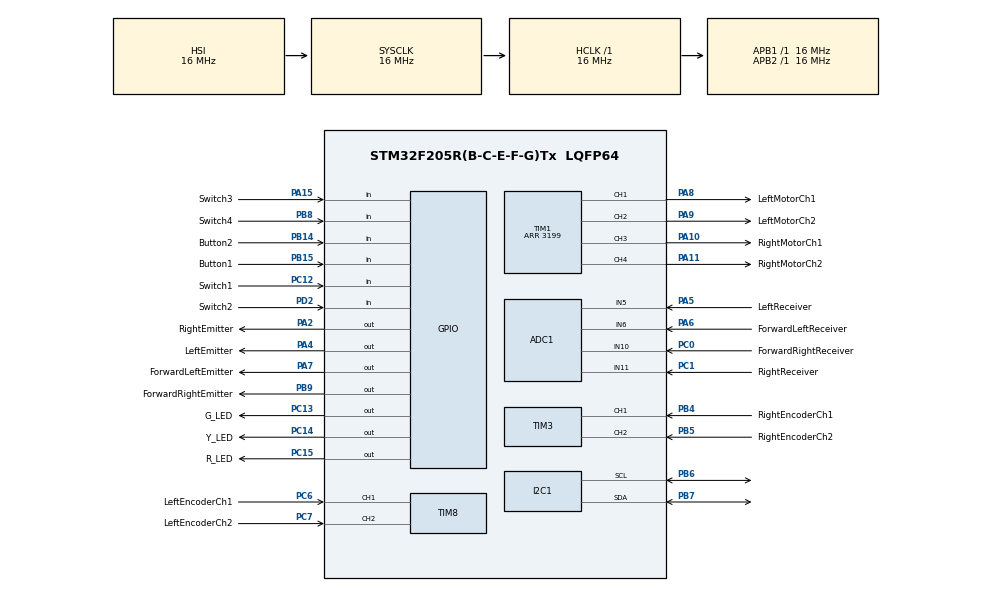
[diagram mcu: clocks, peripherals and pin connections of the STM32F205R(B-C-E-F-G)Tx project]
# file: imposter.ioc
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ADC1.Channel-0\#ChannelRegularConversion=ADC_CHANNEL_5
ADC1.ContinuousConvMode=ENABLE
ADC1.DMAContinuousRequests=ENABLE
ADC1.NbrOfConversionFlag=1
ADC1.Rank-0\#ChannelRegularConversion=1
ADC1.SamplingTime-0\#ChannelRegularConversion=ADC_SAMPLETIME_3CYCLES
ADC1.master=1
Dma.ADC1.0.Direction=DMA_PERIPH_TO_MEMORY
Dma.ADC1.0.FIFOMode=DMA_FIFOMODE_DISABLE
Dma.ADC1.0.Instance=DMA2_Stream0
Dma.ADC1.0.MemDataAlignment=DMA_MDATAALIGN_HALFWORD
Dma.ADC1.0.MemInc=DMA_MINC_ENABLE
Dma.ADC1.0.Mode=DMA_CIRCULAR
Dma.ADC1.0.PeriphDataAlignment=DMA_PDATAALIGN_HALFWORD
Dma.ADC1.0.PeriphInc=DMA_PINC_DISABLE
Dma.ADC1.0.Priority=DMA_PRIORITY_LOW
Dma.Request0=ADC1
I2C1.I2C_Mode=I2C_Fast
Mcu.Family=STM32F2
Mcu.Name=STM32F205R(B-C-E-F-G)Tx
Mcu.Package=LQFP64
NVIC.DMA2_Stream0_IRQn=true\:0\:0\:false\:false\:true\:false\:true\:true
NVIC.PriorityGroup=NVIC_PRIORITYGROUP_4
NVIC.TIM1_UP_TIM10_IRQn=true\:0\:0\:false\:false\:true\:true\:true\:true
PA10.GPIO_Label=RightMotorCh1
PA10.Signal=S_TIM1_CH3
PA11.GPIO_Label=RightMotorCh2
PA11.Signal=S_TIM1_CH4
PA15.GPIO_Label=Switch3
PA15.Signal=GPIO_Input
PA2.GPIO_Label=RightEmitter
PA2.Signal=GPIO_Output
PA4.GPIO_Label=LeftEmitter
PA4.Signal=GPIO_Output
PA5.GPIO_Label=LeftReceiver
PA5.Signal=ADCx_IN5
PA6.GPIO_Label=ForwardLeftReceiver
PA6.Signal=ADCx_IN6
PA7.GPIO_Label=ForwardLeftEmitter
PA7.Signal=GPIO_Output
PA8.GPIO_Label=LeftMotorCh1
PA8.Signal=S_TIM1_CH1
PA9.GPIO_Label=LeftMotorCh2
PA9.Signal=S_TIM1_CH2
PB14.GPIO_Label=Button2
PB14.Signal=GPIO_Input
PB15.GPIO_Label=Button1
PB15.Signal=GPIO_Input
PB4.GPIO_Label=RightEncoderCh1
PB4.Signal=S_TIM3_CH1
PB5.GPIO_Label=RightEncoderCh2
PB5.Signal=S_TIM3_CH2
PB6.Mode=I2C
PB6.Signal=I2C1_SCL
PB7.Mode=I2C
PB7.Signal=I2C1_SDA
PB8.GPIO_Label=Switch4
PB8.Signal=GPIO_Input
PB9.GPIO_Label=ForwardRightEmitter
PB9.Signal=GPIO_Output
PC0.GPIO_Label=ForwardRightReceiver
PC0.Signal=ADCx_IN10
PC1.GPIO_Label=RightReceiver
PC1.Signal=ADCx_IN11
PC12.GPIO_Label=Switch1
PC12.Signal=GPIO_Input
PC13.GPIO_Label=G_LED
PC13.Signal=GPIO_Output
PC14-OSC32_IN.GPIO_Label=Y_LED
PC14-OSC32_IN.Signal=GPIO_Output
PC15-OSC32_OUT.GPIO_Label=R_LED
PC15-OSC32_OUT.Signal=GPIO_Output
PC6.GPIO_Label=LeftEncoderCh1
PC6.Signal=S_TIM8_CH1
PC7.GPIO_Label=LeftEncoderCh2
PC7.Signal=S_TIM8_CH2
PD2.GPIO_Label=Switch2
PD2.Signal=GPIO_Input
ProjectManager.HeapSize=0x200
ProjectManager.StackSize=0x400
ProjectManager.TargetToolchain=STM32CubeIDE
RCC.48MHZClocksFreq_Value=48000000
RCC.AHBFreq_Value=16000000
RCC.APB1Freq_Value=16000000
RCC.APB2Freq_Value=16000000
RCC.CortexFreq_Value=16000000
RCC.HSE_VALUE=25000000
RCC.HSI_VALUE=16000000
RCC.LSE_VALUE=32768
RCC.SYSCLKFreq_VALUE=16000000
RCC.VCOOutputFreq_Value=192000000
SH.ADCx_IN10.0=ADC1_IN10,IN10
SH.ADCx_IN11.0=ADC1_IN11,IN11
SH.ADCx_IN5.0=ADC1_IN5,IN5
SH.ADCx_IN6.0=ADC1_IN6,IN6
SH.S_TIM1_CH1.0=TIM1_CH1,PWM Generation1 CH1
SH.S_TIM1_CH2.0=TIM1_CH2,PWM Generation2 CH2
SH.S_TIM1_CH3.0=TIM1_CH3,PWM Generation3 CH3
SH.S_TIM1_CH4.0=TIM1_CH4,PWM Generation4 CH4
SH.S_TIM3_CH1.0=TIM3_CH1,Encoder_Interface
SH.S_TIM3_CH2.0=TIM3_CH2,Encoder_Interface
SH.S_TIM8_CH1.0=TIM8_CH1,Encoder_Interface
SH.S_TIM8_CH2.0=TIM8_CH2,Encoder_Interface
TIM1.Channel-PWM\ Generation1\ CH1=TIM_CHANNEL_1
TIM1.Channel-PWM\ Generation2\ CH2=TIM_CHANNEL_2
TIM1.Channel-PWM\ Generation3\ CH3=TIM_CHANNEL_3
TIM1.Channel-PWM\ Generation4\ CH4=TIM_CHANNEL_4
TIM1.Period=3199
TIM3.EncoderMode=TIM_ENCODERMODE_TI12
TIM8.EncoderMode=TIM_ENCODERMODE_TI12
board=custom

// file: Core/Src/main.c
/* USER CODE BEGIN Header */
/**
  ******************************************************************************
  * @file           : main.c
  * @brief          : Main program body
  ******************************************************************************
  * @attention
  *
  * Copyright (c) 2024 STMicroelectronics.
  * All rights reserved.
  *
  * This software is licensed under terms that can be found in the LICENSE file
  * in the root directory of this software component.
  * If no LICENSE file comes with this software, it is provided AS-IS.
  *
  ******************************************************************************
  */
/* USER CODE END Header */
#include "main.h"

/* USER CODE BEGIN Includes */
#include "irs.h"
#include "delay.h"
#include "encoders.h"
#include "motors.h"
#include "pid2.h"
#include "controller.h"
#include "solver.h"
#include "gyro.h"
#include "anim.h"
#include "ssd1306.h"
#include "fonts.h"
/* USER CODE END Includes */

ADC_HandleTypeDef hadc1;
DMA_HandleTypeDef hdma_adc1;

I2C_HandleTypeDef hi2c1;

TIM_HandleTypeDef htim1;
TIM_HandleTypeDef htim3;
TIM_HandleTypeDef htim8;

/* USER CODE BEGIN PV */
GPIO_PinState S1, S2, S3, S4, B1, B2;

int16_t start_pressed = 0;

int16_t left_counts = 0;
int16_t right_counts = 0;

int16_t forwardLeftIRvalue = 0;
int16_t leftIRvalue = 0;
int16_t rightIRvalue = 0;
int16_t forwardRightIRvalue = 0;

int16_t irOffset_Set = 0;

int16_t walls_set = 0;

int16_t goal_forward_left = 0;
int16_t goal_forward_right = 0;
int16_t goal_left = 0;
int16_t goal_right = 0;

int max_forward = 0;
float Gz;

/* USER CODE END PV */

void SystemClock_Config(void);
static void MX_GPIO_Init(void);
static void MX_DMA_Init(void);
static void MX_ADC1_Init(void);
static void MX_TIM3_Init(void);
static void MX_TIM8_Init(void);
static void MX_TIM1_Init(void);
static void MX_I2C1_Init(void);

/* USER CODE BEGIN 0 */
void solve(Algorithm alg) {
	Action nextMove = solver(alg);
	switch(nextMove) {
		case FORWARD:
			move(0);
//			move(1);
			if (alg == FLOODFILL)
			{
				int extra_moves = foresight(); // Already has curr position and heading
				if (extra_moves > max_forward) {
					extra_moves = max_forward;
				}
				for (int i = 0; i < extra_moves; i++)
				{
					solver(FLOODFILL);
				}
				move(1 + extra_moves);
			}
			else
				move(1);
			break;
		case LEFT:
			displayFace(goodright);
			move(0);
			turn(-1);
			break;
		case RIGHT:
			displayFace(goodleft);
			move(0);
			turn(1);
			break;
		case IDLE:
			break;
	}
	if (readIR(IR_FORWARD_LEFT) > 1200 && readIR(IR_FORWARD_RIGHT) > 1200) {
		frontCorrection();
	}
}
/* USER CODE END 0 */

int main(void)
{

  /* MCU Configuration--------------------------------------------------------*/

  /* Reset of all peripherals, Initializes the Flash interface and the Systick. */
  HAL_Init();

  /* USER CODE BEGIN Init */
  Delay_Init();

  /* USER CODE END Init */

  /* Configure the system clock */
  SystemClock_Config();

  /* Initialize all configured peripherals */
  MX_GPIO_Init();
  MX_DMA_Init();
  MX_ADC1_Init();
  MX_TIM3_Init();
  MX_TIM8_Init();
  MX_TIM1_Init();
  MX_I2C1_Init();
  /* USER CODE BEGIN 2 */
  HAL_TIM_Encoder_Start(&htim3, TIM_CHANNEL_ALL);
  HAL_TIM_Encoder_Start(&htim8, TIM_CHANNEL_ALL);

  HAL_TIM_PWM_Start(&htim1, TIM_CHANNEL_1);
  HAL_TIM_PWM_Start(&htim1, TIM_CHANNEL_2);
  HAL_TIM_PWM_Start(&htim1, TIM_CHANNEL_3);
  HAL_TIM_PWM_Start(&htim1, TIM_CHANNEL_4);

  HAL_GPIO_WritePin(ForwardLeftEmitter_GPIO_Port, ForwardLeftEmitter_Pin, GPIO_PIN_SET);
  HAL_GPIO_WritePin(LeftEmitter_GPIO_Port, LeftEmitter_Pin, GPIO_PIN_SET);
  HAL_GPIO_WritePin(RightEmitter_GPIO_Port, RightEmitter_Pin, GPIO_PIN_SET);
  HAL_GPIO_WritePin(ForwardRightEmitter_GPIO_Port, ForwardRightEmitter_Pin, GPIO_PIN_SET);

  SSD1306_Init();
  /* USER CODE END 2 */

  /* Infinite loop */
  while (1)
  {

    /* USER CODE BEGIN 3 */
	  S1 = HAL_GPIO_ReadPin(Button1_GPIO_Port, Switch1_Pin);
	  S2 = HAL_GPIO_ReadPin(Switch2_GPIO_Port, Switch2_Pin);
	  S3 = HAL_GPIO_ReadPin(Switch3_GPIO_Port, Switch3_Pin);
	  S4 = HAL_GPIO_ReadPin(Switch4_GPIO_Port, Switch4_Pin);
	  B1 = HAL_GPIO_ReadPin(Button1_GPIO_Port, Button1_Pin);
	  B2 = HAL_GPIO_ReadPin(Button2_GPIO_Port, Button2_Pin);
//
//	  HAL_GPIO_WritePin(R_LED_GPIO_Port, R_LED_Pin, GPIO_PIN_SET);
//	  HAL_GPIO_WritePin(Y_LED_GPIO_Port, Y_LED_Pin, GPIO_PIN_SET);
//	  HAL_GPIO_WritePin(G_LED_GPIO_Port, G_LED_Pin, GPIO_PIN_SET);

	  forwardLeftIRvalue = readIR(IR_FORWARD_LEFT);
	  leftIRvalue = readIR(IR_LEFT);
	  rightIRvalue = readIR(IR_RIGHT);
	  forwardRightIRvalue = readIR(IR_FORWARD_RIGHT);

	  if (B1 == GPIO_PIN_SET)
	  {
		  if (irOffset_Set == 0) {
			  setIRGoals(readIR(IR_FORWARD_LEFT), readIR(IR_FORWARD_RIGHT), readIR(IR_LEFT), readIR(IR_RIGHT));
			  irOffset_Set = 1;
			  gyroInit();
			  displayFace(smiley);
		  }
		  else {
			  displayFace(angery);
			  max_forward++;
		  }

		  resetPID();
	  }

	  if (B2 == GPIO_PIN_SET)
	  {
		  initPID();
//		  frontCorrection();
		  start_pressed = 1;
//		  turn(1);
//		  move(0);
//		  move(1);
//		  move(1);
//		  move(1);
//		  turn(1);
//		  turn(1);
//		  move(1);
//		  move(1);
//		  move(1);
//		  turn(1);
//		  turn(1);
	  }

	  if (start_pressed)
	  {
		  resetPID();
		  move(0);

		  if (S4 == GPIO_PIN_SET)
			  solve(FLOODFILL);
		  else
			  solve(DEAD);
	  }
  }
  /* USER CODE END 3 */
}

void SystemClock_Config(void)
{
  RCC_OscInitTypeDef RCC_OscInitStruct = {0};
  RCC_ClkInitTypeDef RCC_ClkInitStruct = {0};

  /** Initializes the RCC Oscillators according to the specified parameters
  * in the RCC_OscInitTypeDef structure.
  */
  RCC_OscInitStruct.OscillatorType = RCC_OSCILLATORTYPE_HSI;
  RCC_OscInitStruct.HSIState = RCC_HSI_ON;
  RCC_OscInitStruct.HSICalibrationValue = RCC_HSICALIBRATION_DEFAULT;
  RCC_OscInitStruct.PLL.PLLState = RCC_PLL_NONE;
  if (HAL_RCC_OscConfig(&RCC_OscInitStruct) != HAL_OK)
  {
    Error_Handler();
  }

  /** Initializes the CPU, AHB and APB buses clocks
  */
  RCC_ClkInitStruct.ClockType = RCC_CLOCKTYPE_HCLK|RCC_CLOCKTYPE_SYSCLK
                              |RCC_CLOCKTYPE_PCLK1|RCC_CLOCKTYPE_PCLK2;
  RCC_ClkInitStruct.SYSCLKSource = RCC_SYSCLKSOURCE_HSI;
  RCC_ClkInitStruct.AHBCLKDivider = RCC_SYSCLK_DIV1;
  RCC_ClkInitStruct.APB1CLKDivider = RCC_HCLK_DIV1;
  RCC_ClkInitStruct.APB2CLKDivider = RCC_HCLK_DIV1;

  if (HAL_RCC_ClockConfig(&RCC_ClkInitStruct, FLASH_LATENCY_0) != HAL_OK)
  {
    Error_Handler();
  }
}

static void MX_ADC1_Init(void)
{

  ADC_ChannelConfTypeDef sConfig = {0};

  /** Configure the global features of the ADC (Clock, Resolution, Data Alignment and number of conversion)
  */
  hadc1.Instance = ADC1;
  hadc1.Init.ClockPrescaler = ADC_CLOCK_SYNC_PCLK_DIV2;
  hadc1.Init.Resolution = ADC_RESOLUTION_12B;
  hadc1.Init.ScanConvMode = DISABLE;
  hadc1.Init.ContinuousConvMode = ENABLE;
  hadc1.Init.DiscontinuousConvMode = DISABLE;
  hadc1.Init.ExternalTrigConvEdge = ADC_EXTERNALTRIGCONVEDGE_NONE;
  hadc1.Init.ExternalTrigConv = ADC_SOFTWARE_START;
  hadc1.Init.DataAlign = ADC_DATAALIGN_RIGHT;
  hadc1.Init.NbrOfConversion = 1;
  hadc1.Init.DMAContinuousRequests = ENABLE;
  hadc1.Init.EOCSelection = ADC_EOC_SINGLE_CONV;
  if (HAL_ADC_Init(&hadc1) != HAL_OK)
  {
    Error_Handler();
  }

  /** Configure for the selected ADC regular channel its corresponding rank in the sequencer and its sample time.
  */
  sConfig.Channel = ADC_CHANNEL_5;
  sConfig.Rank = 1;
  sConfig.SamplingTime = ADC_SAMPLETIME_3CYCLES;
  if (HAL_ADC_ConfigChannel(&hadc1, &sConfig) != HAL_OK)
  {
    Error_Handler();
  }

}

static void MX_I2C1_Init(void)
{

  hi2c1.Instance = I2C1;
  hi2c1.Init.ClockSpeed = 400000;
  hi2c1.Init.DutyCycle = I2C_DUTYCYCLE_2;
  hi2c1.Init.OwnAddress1 = 0;
  hi2c1.Init.AddressingMode = I2C_ADDRESSINGMODE_7BIT;
  hi2c1.Init.DualAddressMode = I2C_DUALADDRESS_DISABLE;
  hi2c1.Init.OwnAddress2 = 0;
  hi2c1.Init.GeneralCallMode = I2C_GENERALCALL_DISABLE;
  hi2c1.Init.NoStretchMode = I2C_NOSTRETCH_DISABLE;
  if (HAL_I2C_Init(&hi2c1) != HAL_OK)
  {
    Error_Handler();
  }

}

static void MX_TIM1_Init(void)
{

  TIM_MasterConfigTypeDef sMasterConfig = {0};
  TIM_OC_InitTypeDef sConfigOC = {0};
  TIM_BreakDeadTimeConfigTypeDef sBreakDeadTimeConfig = {0};

  htim1.Instance = TIM1;
  htim1.Init.Prescaler = 0;
  htim1.Init.CounterMode = TIM_COUNTERMODE_UP;
  htim1.Init.Period = 3199;
  htim1.Init.ClockDivision = TIM_CLOCKDIVISION_DIV1;
  htim1.Init.RepetitionCounter = 0;
  htim1.Init.AutoReloadPreload = TIM_AUTORELOAD_PRELOAD_DISABLE;
  if (HAL_TIM_PWM_Init(&htim1) != HAL_OK)
  {
    Error_Handler();
  }
  sMasterConfig.MasterOutputTrigger = TIM_TRGO_RESET;
  sMasterConfig.MasterSlaveMode = TIM_MASTERSLAVEMODE_DISABLE;
  if (HAL_TIMEx_MasterConfigSynchronization(&htim1, &sMasterConfig) != HAL_OK)
  {
    Error_Handler();
  }
  sConfigOC.OCMode = TIM_OCMODE_PWM1;
  sConfigOC.Pulse = 0;
  sConfigOC.OCPolarity = TIM_OCPOLARITY_HIGH;
  sConfigOC.OCNPolarity = TIM_OCNPOLARITY_HIGH;
  sConfigOC.OCFastMode = TIM_OCFAST_DISABLE;
  sConfigOC.OCIdleState = TIM_OCIDLESTATE_RESET;
  sConfigOC.OCNIdleState = TIM_OCNIDLESTATE_RESET;
  if (HAL_TIM_PWM_ConfigChannel(&htim1, &sConfigOC, TIM_CHANNEL_1) != HAL_OK)
  {
    Error_Handler();
  }
  if (HAL_TIM_PWM_ConfigChannel(&htim1, &sConfigOC, TIM_CHANNEL_2) != HAL_OK)
  {
    Error_Handler();
  }
  if (HAL_TIM_PWM_ConfigChannel(&htim1, &sConfigOC, TIM_CHANNEL_3) != HAL_OK)
  {
    Error_Handler();
  }
  if (HAL_TIM_PWM_ConfigChannel(&htim1, &sConfigOC, TIM_CHANNEL_4) != HAL_OK)
  {
    Error_Handler();
  }
  sBreakDeadTimeConfig.OffStateRunMode = TIM_OSSR_DISABLE;
  sBreakDeadTimeConfig.OffStateIDLEMode = TIM_OSSI_DISABLE;
  sBreakDeadTimeConfig.LockLevel = TIM_LOCKLEVEL_OFF;
  sBreakDeadTimeConfig.DeadTime = 0;
  sBreakDeadTimeConfig.BreakState = TIM_BREAK_DISABLE;
  sBreakDeadTimeConfig.BreakPolarity = TIM_BREAKPOLARITY_HIGH;
  sBreakDeadTimeConfig.AutomaticOutput = TIM_AUTOMATICOUTPUT_DISABLE;
  if (HAL_TIMEx_ConfigBreakDeadTime(&htim1, &sBreakDeadTimeConfig) != HAL_OK)
  {
    Error_Handler();
  }
  HAL_TIM_MspPostInit(&htim1);

}

static void MX_TIM3_Init(void)
{

  TIM_Encoder_InitTypeDef sConfig = {0};
  TIM_MasterConfigTypeDef sMasterConfig = {0};

  htim3.Instance = TIM3;
  htim3.Init.Prescaler = 0;
  htim3.Init.CounterMode = TIM_COUNTERMODE_UP;
  htim3.Init.Period = 65535;
  htim3.Init.ClockDivision = TIM_CLOCKDIVISION_DIV1;
  htim3.Init.AutoReloadPreload = TIM_AUTORELOAD_PRELOAD_DISABLE;
  sConfig.EncoderMode = TIM_ENCODERMODE_TI12;
  sConfig.IC1Polarity = TIM_ICPOLARITY_RISING;
  sConfig.IC1Selection = TIM_ICSELECTION_DIRECTTI;
  sConfig.IC1Prescaler = TIM_ICPSC_DIV1;
  sConfig.IC1Filter = 0;
  sConfig.IC2Polarity = TIM_ICPOLARITY_RISING;
  sConfig.IC2Selection = TIM_ICSELECTION_DIRECTTI;
  sConfig.IC2Prescaler = TIM_ICPSC_DIV1;
  sConfig.IC2Filter = 0;
  if (HAL_TIM_Encoder_Init(&htim3, &sConfig) != HAL_OK)
  {
    Error_Handler();
  }
  sMasterConfig.MasterOutputTrigger = TIM_TRGO_RESET;
  sMasterConfig.MasterSlaveMode = TIM_MASTERSLAVEMODE_DISABLE;
  if (HAL_TIMEx_MasterConfigSynchronization(&htim3, &sMasterConfig) != HAL_OK)
  {
    Error_Handler();
  }

}

static void MX_TIM8_Init(void)
{

  TIM_Encoder_InitTypeDef sConfig = {0};
  TIM_MasterConfigTypeDef sMasterConfig = {0};

  htim8.Instance = TIM8;
  htim8.Init.Prescaler = 0;
  htim8.Init.CounterMode = TIM_COUNTERMODE_UP;
  htim8.Init.Period = 65535;
  htim8.Init.ClockDivision = TIM_CLOCKDIVISION_DIV1;
  htim8.Init.RepetitionCounter = 0;
  htim8.Init.AutoReloadPreload = TIM_AUTORELOAD_PRELOAD_DISABLE;
  sConfig.EncoderMode = TIM_ENCODERMODE_TI12;
  sConfig.IC1Polarity = TIM_ICPOLARITY_RISING;
  sConfig.IC1Selection = TIM_ICSELECTION_DIRECTTI;
  sConfig.IC1Prescaler = TIM_ICPSC_DIV1;
  sConfig.IC1Filter = 0;
  sConfig.IC2Polarity = TIM_ICPOLARITY_RISING;
  sConfig.IC2Selection = TIM_ICSELECTION_DIRECTTI;
  sConfig.IC2Prescaler = TIM_ICPSC_DIV1;
  sConfig.IC2Filter = 0;
  if (HAL_TIM_Encoder_Init(&htim8, &sConfig) != HAL_OK)
  {
    Error_Handler();
  }
  sMasterConfig.MasterOutputTrigger = TIM_TRGO_RESET;
  sMasterConfig.MasterSlaveMode = TIM_MASTERSLAVEMODE_DISABLE;
  if (HAL_TIMEx_MasterConfigSynchronization(&htim8, &sMasterConfig) != HAL_OK)
  {
    Error_Handler();
  }

}

static void MX_DMA_Init(void)
{

  /* DMA controller clock enable */
  __HAL_RCC_DMA2_CLK_ENABLE();

  /* DMA interrupt init */
  /* DMA2_Stream0_IRQn interrupt configuration */
  HAL_NVIC_SetPriority(DMA2_Stream0_IRQn, 0, 0);
  HAL_NVIC_EnableIRQ(DMA2_Stream0_IRQn);

}

static void MX_GPIO_Init(void)
{
  GPIO_InitTypeDef GPIO_InitStruct = {0};

  /* GPIO Ports Clock Enable */
  __HAL_RCC_GPIOC_CLK_ENABLE();
  __HAL_RCC_GPIOA_CLK_ENABLE();
  __HAL_RCC_GPIOB_CLK_ENABLE();
  __HAL_RCC_GPIOD_CLK_ENABLE();

  /*Configure GPIO pin Output Level */
  HAL_GPIO_WritePin(GPIOC, G_LED_Pin|Y_LED_Pin|R_LED_Pin, GPIO_PIN_RESET);

  /*Configure GPIO pin Output Level */
  HAL_GPIO_WritePin(GPIOA, RightEmitter_Pin|LeftEmitter_Pin|ForwardLeftEmitter_Pin, GPIO_PIN_RESET);

  /*Configure GPIO pin Output Level */
  HAL_GPIO_WritePin(ForwardRightEmitter_GPIO_Port, ForwardRightEmitter_Pin, GPIO_PIN_RESET);

  /*Configure GPIO pins : G_LED_Pin Y_LED_Pin R_LED_Pin */
  GPIO_InitStruct.Pin = G_LED_Pin|Y_LED_Pin|R_LED_Pin;
  GPIO_InitStruct.Mode = GPIO_MODE_OUTPUT_PP;
  GPIO_InitStruct.Pull = GPIO_NOPULL;
  GPIO_InitStruct.Speed = GPIO_SPEED_FREQ_LOW;
  HAL_GPIO_Init(GPIOC, &GPIO_InitStruct);

  /*Configure GPIO pins : RightEmitter_Pin LeftEmitter_Pin ForwardLeftEmitter_Pin */
  GPIO_InitStruct.Pin = RightEmitter_Pin|LeftEmitter_Pin|ForwardLeftEmitter_Pin;
  GPIO_InitStruct.Mode = GPIO_MODE_OUTPUT_PP;
  GPIO_InitStruct.Pull = GPIO_NOPULL;
  GPIO_InitStruct.Speed = GPIO_SPEED_FREQ_LOW;
  HAL_GPIO_Init(GPIOA, &GPIO_InitStruct);

  /*Configure GPIO pins : Button2_Pin Button1_Pin Switch4_Pin */
  GPIO_InitStruct.Pin = Button2_Pin|Button1_Pin|Switch4_Pin;
  GPIO_InitStruct.Mode = GPIO_MODE_INPUT;
  GPIO_InitStruct.Pull = GPIO_NOPULL;
  HAL_GPIO_Init(GPIOB, &GPIO_InitStruct);

  /*Configure GPIO pin : Switch3_Pin */
  GPIO_InitStruct.Pin = Switch3_Pin;
  GPIO_InitStruct.Mode = GPIO_MODE_INPUT;
  GPIO_InitStruct.Pull = GPIO_NOPULL;
  HAL_GPIO_Init(Switch3_GPIO_Port, &GPIO_InitStruct);

  /*Configure GPIO pin : Switch1_Pin */
  GPIO_InitStruct.Pin = Switch1_Pin;
  GPIO_InitStruct.Mode = GPIO_MODE_INPUT;
  GPIO_InitStruct.Pull = GPIO_NOPULL;
  HAL_GPIO_Init(Switch1_GPIO_Port, &GPIO_InitStruct);

  /*Configure GPIO pin : Switch2_Pin */
  GPIO_InitStruct.Pin = Switch2_Pin;
  GPIO_InitStruct.Mode = GPIO_MODE_INPUT;
  GPIO_InitStruct.Pull = GPIO_NOPULL;
  HAL_GPIO_Init(Switch2_GPIO_Port, &GPIO_InitStruct);

  /*Configure GPIO pin : ForwardRightEmitter_Pin */
  GPIO_InitStruct.Pin = ForwardRightEmitter_Pin;
  GPIO_InitStruct.Mode = GPIO_MODE_OUTPUT_PP;
  GPIO_InitStruct.Pull = GPIO_NOPULL;
  GPIO_InitStruct.Speed = GPIO_SPEED_FREQ_LOW;
  HAL_GPIO_Init(ForwardRightEmitter_GPIO_Port, &GPIO_InitStruct);

}

/* USER CODE BEGIN 4 */
ADC_HandleTypeDef* Get_HADC1_Ptr(void)
{
	return &hadc1;
}

I2C_HandleTypeDef* Get_I2C1_Ptr(void)
{
	return &hi2c1;
}
/* USER CODE END 4 */

void Error_Handler(void)
{
  __disable_irq();
  while (1)
  {
  }
}
